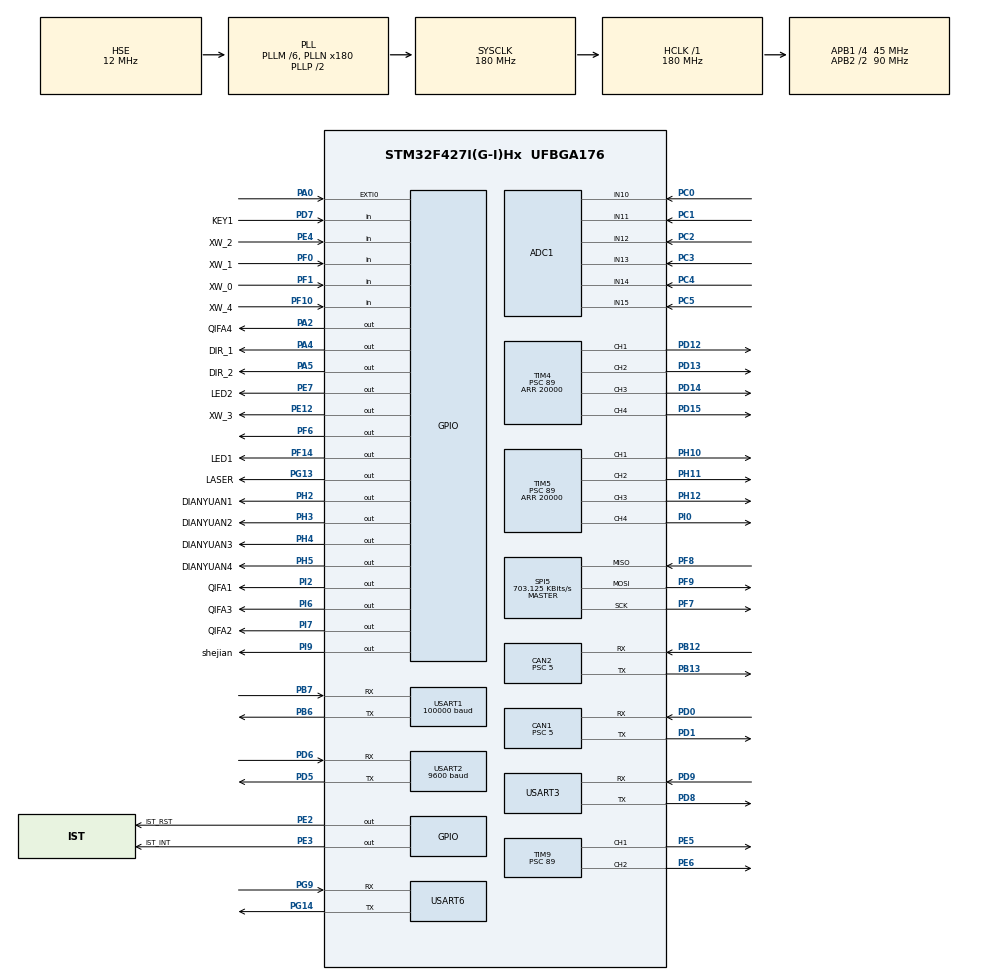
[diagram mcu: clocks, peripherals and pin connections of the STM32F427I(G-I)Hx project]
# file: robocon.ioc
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ADC1.Channel-0\#ChannelRegularConversion=ADC_CHANNEL_12
ADC1.Channel-1\#ChannelRegularConversion=ADC_CHANNEL_13
ADC1.Channel-2\#ChannelRegularConversion=ADC_CHANNEL_14
ADC1.Channel-3\#ChannelRegularConversion=ADC_CHANNEL_15
ADC1.Channel-4\#ChannelRegularConversion=ADC_CHANNEL_10
ADC1.Channel-5\#ChannelRegularConversion=ADC_CHANNEL_11
ADC1.ContinuousConvMode=ENABLE
ADC1.DMAContinuousRequests=ENABLE
ADC1.NbrOfConversion=6
ADC1.NbrOfConversionFlag=1
ADC1.Rank-0\#ChannelRegularConversion=1
ADC1.Rank-1\#ChannelRegularConversion=2
ADC1.Rank-2\#ChannelRegularConversion=3
ADC1.Rank-3\#ChannelRegularConversion=4
ADC1.Rank-4\#ChannelRegularConversion=5
ADC1.Rank-5\#ChannelRegularConversion=6
ADC1.SamplingTime-0\#ChannelRegularConversion=ADC_SAMPLETIME_3CYCLES
ADC1.SamplingTime-1\#ChannelRegularConversion=ADC_SAMPLETIME_3CYCLES
ADC1.SamplingTime-2\#ChannelRegularConversion=ADC_SAMPLETIME_3CYCLES
ADC1.SamplingTime-3\#ChannelRegularConversion=ADC_SAMPLETIME_3CYCLES
ADC1.SamplingTime-4\#ChannelRegularConversion=ADC_SAMPLETIME_3CYCLES
ADC1.SamplingTime-5\#ChannelRegularConversion=ADC_SAMPLETIME_3CYCLES
ADC1.ScanConvMode=ENABLE
ADC1.master=1
CAN1.ABOM=ENABLE
CAN1.BS1=CAN_BS1_3TQ
CAN1.BS2=CAN_BS2_5TQ
CAN1.CalculateBaudRate=1000000
CAN1.CalculateTimeBit=999.99
CAN1.CalculateTimeQuantum=111.11111111111111
CAN1.Prescaler=5
CAN1.SJW=CAN_SJW_1TQ
CAN2.ABOM=ENABLE
CAN2.BS1=CAN_BS1_3TQ
CAN2.BS2=CAN_BS2_5TQ
CAN2.CalculateBaudRate=1000000
CAN2.CalculateTimeBit=999.99
CAN2.CalculateTimeQuantum=111.11111111111111
CAN2.Prescaler=5
CAN2.SJW=CAN_SJW_1TQ
Dma.ADC1.3.Direction=DMA_PERIPH_TO_MEMORY
Dma.ADC1.3.FIFOMode=DMA_FIFOMODE_DISABLE
Dma.ADC1.3.Instance=DMA2_Stream0
Dma.ADC1.3.MemDataAlignment=DMA_MDATAALIGN_WORD
Dma.ADC1.3.MemInc=DMA_MINC_ENABLE
Dma.ADC1.3.Mode=DMA_CIRCULAR
Dma.ADC1.3.PeriphDataAlignment=DMA_PDATAALIGN_WORD
Dma.ADC1.3.PeriphInc=DMA_PINC_DISABLE
Dma.ADC1.3.Priority=DMA_PRIORITY_MEDIUM
Dma.Request0=USART1_RX
Dma.Request1=USART2_RX
Dma.Request2=USART6_RX
Dma.Request3=ADC1
Dma.Request4=USART2_TX
Dma.Request5=USART6_TX
Dma.USART1_RX.0.Direction=DMA_PERIPH_TO_MEMORY
Dma.USART1_RX.0.FIFOMode=DMA_FIFOMODE_DISABLE
Dma.USART1_RX.0.Instance=DMA2_Stream2
Dma.USART1_RX.0.MemDataAlignment=DMA_MDATAALIGN_BYTE
Dma.USART1_RX.0.MemInc=DMA_MINC_ENABLE
Dma.USART1_RX.0.Mode=DMA_CIRCULAR
Dma.USART1_RX.0.PeriphDataAlignment=DMA_PDATAALIGN_BYTE
Dma.USART1_RX.0.PeriphInc=DMA_PINC_DISABLE
Dma.USART1_RX.0.Priority=DMA_PRIORITY_MEDIUM
Dma.USART2_RX.1.Direction=DMA_PERIPH_TO_MEMORY
Dma.USART2_RX.1.FIFOMode=DMA_FIFOMODE_DISABLE
Dma.USART2_RX.1.Instance=DMA1_Stream5
Dma.USART2_RX.1.MemDataAlignment=DMA_MDATAALIGN_BYTE
Dma.USART2_RX.1.MemInc=DMA_MINC_ENABLE
Dma.USART2_RX.1.Mode=DMA_CIRCULAR
Dma.USART2_RX.1.PeriphDataAlignment=DMA_PDATAALIGN_BYTE
Dma.USART2_RX.1.PeriphInc=DMA_PINC_DISABLE
Dma.USART2_RX.1.Priority=DMA_PRIORITY_MEDIUM
Dma.USART2_TX.4.Direction=DMA_MEMORY_TO_PERIPH
Dma.USART2_TX.4.FIFOMode=DMA_FIFOMODE_DISABLE
Dma.USART2_TX.4.Instance=DMA1_Stream6
Dma.USART2_TX.4.MemDataAlignment=DMA_MDATAALIGN_BYTE
Dma.USART2_TX.4.MemInc=DMA_MINC_ENABLE
Dma.USART2_TX.4.Mode=DMA_NORMAL
Dma.USART2_TX.4.PeriphDataAlignment=DMA_PDATAALIGN_BYTE
Dma.USART2_TX.4.PeriphInc=DMA_PINC_DISABLE
Dma.USART2_TX.4.Priority=DMA_PRIORITY_MEDIUM
Dma.USART6_RX.2.Direction=DMA_PERIPH_TO_MEMORY
Dma.USART6_RX.2.FIFOMode=DMA_FIFOMODE_DISABLE
Dma.USART6_RX.2.Instance=DMA2_Stream1
Dma.USART6_RX.2.MemDataAlignment=DMA_MDATAALIGN_BYTE
Dma.USART6_RX.2.MemInc=DMA_MINC_ENABLE
Dma.USART6_RX.2.Mode=DMA_CIRCULAR
Dma.USART6_RX.2.PeriphDataAlignment=DMA_PDATAALIGN_BYTE
Dma.USART6_RX.2.PeriphInc=DMA_PINC_DISABLE
Dma.USART6_RX.2.Priority=DMA_PRIORITY_MEDIUM
Dma.USART6_TX.5.Direction=DMA_MEMORY_TO_PERIPH
Dma.USART6_TX.5.FIFOMode=DMA_FIFOMODE_DISABLE
Dma.USART6_TX.5.Instance=DMA2_Stream6
Dma.USART6_TX.5.MemDataAlignment=DMA_MDATAALIGN_BYTE
Dma.USART6_TX.5.MemInc=DMA_MINC_ENABLE
Dma.USART6_TX.5.Mode=DMA_NORMAL
Dma.USART6_TX.5.PeriphDataAlignment=DMA_PDATAALIGN_BYTE
Dma.USART6_TX.5.PeriphInc=DMA_PINC_DISABLE
Dma.USART6_TX.5.Priority=DMA_PRIORITY_MEDIUM
FREERTOS.Tasks01=defaultTask,0,128,StartDefaultTask,Default,NULL,Dynamic,NULL,NULL;myTask02,0,128,StartTask02,Default,NULL,Dynamic,NULL,NULL;myTask03,0,128,StartTask03,Default,NULL,Dynamic,NULL,NULL;myTask04,0,128,StartTask04,Default,NULL,Dynamic,NULL,NULL
Mcu.Family=STM32F4
Mcu.Name=STM32F427I(G-I)Hx
Mcu.Package=UFBGA176
NVIC.CAN1_RX0_IRQn=true\:5\:0\:false\:false\:true\:true\:true\:true
NVIC.CAN1_TX_IRQn=true\:5\:0\:false\:false\:true\:true\:true\:true
NVIC.CAN2_RX0_IRQn=true\:5\:0\:false\:false\:true\:false\:true\:true
NVIC.CAN2_TX_IRQn=true\:5\:0\:false\:false\:true\:false\:true\:true
NVIC.DMA1_Stream5_IRQn=true\:5\:0\:false\:false\:true\:true\:true\:true
NVIC.DMA1_Stream6_IRQn=true\:5\:0\:false\:false\:true\:true\:false\:true
NVIC.DMA2_Stream0_IRQn=true\:5\:0\:false\:false\:true\:true\:false\:true
NVIC.DMA2_Stream1_IRQn=true\:5\:0\:false\:false\:true\:true\:true\:true
NVIC.DMA2_Stream2_IRQn=true\:5\:0\:false\:false\:true\:true\:true\:true
NVIC.DMA2_Stream6_IRQn=true\:5\:0\:false\:false\:true\:true\:false\:true
NVIC.PriorityGroup=NVIC_PRIORITYGROUP_4
NVIC.TIM6_DAC_IRQn=true\:0\:0\:false\:false\:true\:false\:true\:true
NVIC.TIM7_IRQn=true\:5\:0\:false\:false\:true\:true\:true\:true
NVIC.TimeBase=TIM6_DAC_IRQn
NVIC.TimeBaseIP=TIM6
NVIC.USART1_IRQn=true\:5\:0\:true\:false\:true\:true\:true\:true
NVIC.USART2_IRQn=true\:5\:0\:true\:false\:true\:false\:true\:true
NVIC.USART6_IRQn=true\:5\:0\:true\:false\:true\:true\:true\:true
PA0/WKUP.Signal=GPXTI0
PA13.Mode=Serial_Wire
PA13.Signal=SYS_JTMS-SWDIO
PA14.Mode=Serial_Wire
PA14.Signal=SYS_JTCK-SWCLK
PA2.GPIO_Label=QIFA4
PA2.Signal=GPIO_Output
PA4.GPIO_Label=DIR_1
PA4.Signal=GPIO_Output
PA5.GPIO_Label=DIR_2
PA5.Signal=GPIO_Output
PB12.Mode=CAN_Activate
PB12.Signal=CAN2_RX
PB13.Mode=CAN_Activate
PB13.Signal=CAN2_TX
PB6.GPIO_PuPd=GPIO_PULLUP
PB6.Mode=Asynchronous
PB6.Signal=USART1_TX
PB7.GPIO_PuPd=GPIO_PULLUP
PB7.Mode=Asynchronous
PB7.Signal=USART1_RX
PC0.Signal=ADCx_IN10
PC1.Signal=ADCx_IN11
PC2.Signal=ADCx_IN12
PC3.Signal=ADCx_IN13
PC4.Signal=ADCx_IN14
PC5.Signal=ADCx_IN15
PD0.Mode=CAN_Activate
PD0.Signal=CAN1_RX
PD1.Mode=CAN_Activate
PD1.Signal=CAN1_TX
PD12.Signal=S_TIM4_CH1
PD13.Signal=S_TIM4_CH2
PD14.Signal=S_TIM4_CH3
PD15.Signal=S_TIM4_CH4
PD5.Mode=Asynchronous
PD5.Signal=USART2_TX
PD6.Mode=Asynchronous
PD6.Signal=USART2_RX
PD7.GPIO_Label=KEY1
PD7.Signal=GPIO_Input
PD8.Mode=Asynchronous
PD8.Signal=USART3_TX
PD9.Mode=Asynchronous
PD9.Signal=USART3_RX
PE12.GPIO_Label=XW_3
PE12.GPIO_Speed=GPIO_SPEED_FREQ_HIGH
PE12.PinState=GPIO_PIN_SET
PE12.Signal=GPIO_Output
PE2.GPIO_Label=IST_RST
PE2.PinState=GPIO_PIN_SET
PE2.Signal=GPIO_Output
PE3.GPIO_Label=IST_INT
PE3.Signal=GPIO_Output
PE4.GPIO_Label=XW_2
PE4.GPIO_PuPd=GPIO_PULLUP
PE4.Signal=GPIO_Input
PE5.Signal=S_TIM9_CH1
PE6.Signal=S_TIM9_CH2
PE7.GPIO_Label=LED2
PE7.Signal=GPIO_Output
PF0.GPIO_Label=XW_1
PF0.GPIO_PuPd=GPIO_PULLUP
PF0.Signal=GPIO_Input
PF1.GPIO_Label=XW_0
PF1.GPIO_PuPd=GPIO_PULLUP
PF1.Signal=GPIO_Input
PF10.GPIO_Label=XW_4
PF10.GPIO_PuPd=GPIO_PULLUP
PF10.Signal=GPIO_Input
PF14.GPIO_Label=LED1
PF14.Signal=GPIO_Output
PF6.Signal=GPIO_Output
PF7.Mode=Full_Duplex_Master
PF7.Signal=SPI5_SCK
PF8.Mode=Full_Duplex_Master
PF8.Signal=SPI5_MISO
PF9.Mode=Full_Duplex_Master
PF9.Signal=SPI5_MOSI
PG13.GPIO_Label=LASER
PG13.Signal=GPIO_Output
PG14.Mode=Asynchronous
PG14.Signal=USART6_TX
PG9.Mode=Asynchronous
PG9.Signal=USART6_RX
PH0/OSC_IN.Mode=HSE-External-Oscillator
PH0/OSC_IN.Signal=RCC_OSC_IN
PH1/OSC_OUT.Mode=HSE-External-Oscillator
PH1/OSC_OUT.Signal=RCC_OSC_OUT
PH10.Signal=S_TIM5_CH1
PH11.Signal=S_TIM5_CH2
PH12.Signal=S_TIM5_CH3
PH2.GPIO_Label=DIANYUAN1
PH2.Signal=GPIO_Output
PH3.GPIO_Label=DIANYUAN2
PH3.Signal=GPIO_Output
PH4.GPIO_Label=DIANYUAN3
PH4.Signal=GPIO_Output
PH5.GPIO_Label=DIANYUAN4
PH5.Signal=GPIO_Output
PI0.Signal=S_TIM5_CH4
PI2.GPIO_Label=QIFA1
PI2.Signal=GPIO_Output
PI6.GPIO_Label=QIFA3
PI6.Signal=GPIO_Output
PI7.GPIO_Label=QIFA2
PI7.Signal=GPIO_Output
PI9.GPIO_Label=shejian
PI9.Signal=GPIO_Output
ProjectManager.HeapSize=0x200
ProjectManager.StackSize=0x400
ProjectManager.TargetToolchain=MDK-ARM V5
RCC.48MHZClocksFreq_Value=90000000
RCC.AHBFreq_Value=180000000
RCC.APB1CLKDivider=RCC_HCLK_DIV4
RCC.APB1Freq_Value=45000000
RCC.APB1TimFreq_Value=90000000
RCC.APB2CLKDivider=RCC_HCLK_DIV2
RCC.APB2Freq_Value=90000000
RCC.APB2TimFreq_Value=180000000
RCC.CortexFreq_Value=180000000
RCC.HCLKFreq_Value=180000000
RCC.HSE_VALUE=12000000
RCC.HSI_VALUE=16000000
RCC.LSE_VALUE=32768
RCC.PLLM=6
RCC.PLLN=180
RCC.PLLSourceVirtual=RCC_PLLSOURCE_HSE
RCC.SYSCLKFreq_VALUE=180000000
RCC.SYSCLKSource=RCC_SYSCLKSOURCE_PLLCLK
RCC.VCOOutputFreq_Value=360000000
SH.ADCx_IN10.0=ADC1_IN10,IN10
SH.ADCx_IN11.0=ADC1_IN11,IN11
SH.ADCx_IN12.0=ADC1_IN12,IN12
SH.ADCx_IN13.0=ADC1_IN13,IN13
SH.ADCx_IN14.0=ADC1_IN14,IN14
SH.ADCx_IN15.0=ADC1_IN15,IN15
SH.S_TIM4_CH1.0=TIM4_CH1,PWM Generation1 CH1
SH.S_TIM4_CH2.0=TIM4_CH2,PWM Generation2 CH2
SH.S_TIM4_CH3.0=TIM4_CH3,PWM Generation3 CH3
SH.S_TIM4_CH4.0=TIM4_CH4,PWM Generation4 CH4
SH.S_TIM5_CH1.0=TIM5_CH1,PWM Generation1 CH1
SH.S_TIM5_CH2.0=TIM5_CH2,PWM Generation2 CH2
SH.S_TIM5_CH3.0=TIM5_CH3,PWM Generation3 CH3
SH.S_TIM5_CH4.0=TIM5_CH4,PWM Generation4 CH4
SH.S_TIM9_CH1.0=TIM9_CH1,PWM Generation1 CH1
SH.S_TIM9_CH2.0=TIM9_CH2,PWM Generation2 CH2
SPI5.BaudRatePrescaler=SPI_BAUDRATEPRESCALER_128
SPI5.CalculateBaudRate=703.125 KBits/s
SPI5.Direction=SPI_DIRECTION_2LINES
SPI5.Mode=SPI_MODE_MASTER
SPI5.VirtualType=VM_MASTER
TIM4.Channel-PWM\ Generation1\ CH1=TIM_CHANNEL_1
TIM4.Channel-PWM\ Generation2\ CH2=TIM_CHANNEL_2
TIM4.Channel-PWM\ Generation3\ CH3=TIM_CHANNEL_3
TIM4.Channel-PWM\ Generation4\ CH4=TIM_CHANNEL_4
TIM4.Period=20000
TIM4.Prescaler=89
TIM5.Channel-PWM\ Generation1\ CH1=TIM_CHANNEL_1
TIM5.Channel-PWM\ Generation2\ CH2=TIM_CHANNEL_2
TIM5.Channel-PWM\ Generation3\ CH3=TIM_CHANNEL_3
TIM5.Channel-PWM\ Generation4\ CH4=TIM_CHANNEL_4
TIM5.Period=20000
TIM5.Prescaler=89
TIM7.Period=5000
TIM7.Prescaler=89
TIM9.Channel-PWM\ Generation1\ CH1=TIM_CHANNEL_1
TIM9.Channel-PWM\ Generation2\ CH2=TIM_CHANNEL_2
TIM9.Period=20000
TIM9.Prescaler=89
USART1.BaudRate=100000
USART1.Parity=PARITY_EVEN
USART1.VirtualMode=VM_ASYNC
USART2.BaudRate=9600
USART2.VirtualMode=VM_ASYNC
USART3.VirtualMode=VM_ASYNC
USART6.VirtualMode=VM_ASYNC
VP_FREERTOS_VS_CMSIS_V1.Mode=CMSIS_V1
VP_SYS_VS_tim6.Mode=TIM6
VP_TIM7_VS_ClockSourceINT.Mode=Enable_Timer
board=demo

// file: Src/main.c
/* USER CODE BEGIN Header */
/**
  ******************************************************************************
  * @file           : main.c
  * @brief          : Main program body
  ******************************************************************************
  * @attention
  *
  * <h2><center>&copy; Copyright (c) 2021 STMicroelectronics.
  * All rights reserved.</center></h2>
  *
  * This software component is licensed by ST under Ultimate Liberty license
  * SLA0044, the "License"; You may not use this file except in compliance with
  * the License. You may obtain a copy of the License at:
  *                             www.st.com/SLA0044
  *
  ******************************************************************************
  */
/* USER CODE END Header */
#include "main.h"
#include "cmsis_os.h"
#include "adc.h"
#include "can.h"
#include "dma.h"
#include "spi.h"
#include "tim.h"
#include "usart.h"
#include "gpio.h"

/* USER CODE BEGIN Includes */
#include "stm32f4xx_hal.h"
#include "bsp_imu.h"
#include "stdio.h"
#include "bsp_uart.h"
#include "moter.h"
#include "control.h"
#include "bsp_can.h"
extern speed_wheel baohu[4];
#define BUFFER_SIZE 100
volatile uint8_t rx_len = 0, rx_len2 = 0, rx_len3 = 0;                      //接收一帧数据的长度
volatile uint8_t recv_end_flag = 0, recv_end_flag2 = 0, recv_end_flag3 = 0,recv_cmd_flag2=0; //一帧数据接收完成标志
uint8_t rx_buffer[100] = {0}, rx_buffer2[100] = {0}, rx_buffer3[100] = {0}; //接收数据缓存数组
extern DMA_HandleTypeDef hdma_usart6_rx;
extern rc_info_t rc;
extern float orignal_yaw, yaw;
#define circle   0.329867f
#define Reduction  103765.3f   //减速比
/* USER CODE END Includes */

/* USER CODE BEGIN PV */
/* Private variables ---------------------------------------------------------*/

/* USER CODE END PV */

void SystemClock_Config(void);
void MX_FREERTOS_Init(void);
/* USER CODE BEGIN PFP */
/* Private function prototypes -----------------------------------------------*/

/* USER CODE END PFP */

/* USER CODE BEGIN 0 */
void HAL_UART_RxCpltCallback(UART_HandleTypeDef *huart)
{
  /* Prevent unused argument(s) compilation warning */
  UNUSED(huart);
  /* NOTE: This function should not be modified, when the callback is needed,
             the HAL_UART_RxCpltCallback could be implemented in the user file
     */
}
/* USER CODE END 0 */

int main(void)
{

  /* MCU Configuration--------------------------------------------------------*/

  /* Reset of all peripherals, Initializes the Flash interface and the Systick. */
  HAL_Init();

  /* Configure the system clock */
  SystemClock_Config();

  /* Initialize all configured peripherals */
  MX_GPIO_Init();
  MX_DMA_Init();
  MX_CAN1_Init();
  MX_CAN2_Init();
  MX_SPI5_Init();
  MX_USART1_UART_Init();
  MX_USART2_UART_Init();
  MX_USART6_UART_Init();
  MX_ADC1_Init();
  MX_TIM7_Init();
  MX_USART3_UART_Init();
  MX_TIM9_Init();
  MX_TIM4_Init();
  MX_TIM5_Init();
  /* USER CODE BEGIN 2 */
  HAL_TIM_PWM_Start(&htim9, TIM_CHANNEL_1);
  HAL_TIM_PWM_Start(&htim9, TIM_CHANNEL_2);
	HAL_TIM_PWM_Start(&htim4, TIM_CHANNEL_1);
	HAL_TIM_PWM_Start(&htim4, TIM_CHANNEL_2);
	HAL_TIM_PWM_Start(&htim4, TIM_CHANNEL_3);
	HAL_TIM_PWM_Start(&htim4, TIM_CHANNEL_4);
  dbus_uart_init(); //dbus
  mpu_device_init();
	init_quaternion();

  ////    HAL_Delay(2000);
  /* USER CODE END 2 */

  /* Call init function for freertos objects (in freertos.c) */
  MX_FREERTOS_Init();
  /* Start scheduler */
  osKernelStart();

  /* We should never get here as control is now taken by the scheduler */
  /* Infinite loop */
  while (1)
  {

  }
}

void SystemClock_Config(void)
{
  RCC_OscInitTypeDef RCC_OscInitStruct = {0};
  RCC_ClkInitTypeDef RCC_ClkInitStruct = {0};

  /** Configure the main internal regulator output voltage
  */
  __HAL_RCC_PWR_CLK_ENABLE();
  __HAL_PWR_VOLTAGESCALING_CONFIG(PWR_REGULATOR_VOLTAGE_SCALE1);
  /** Initializes the RCC Oscillators according to the specified parameters
  * in the RCC_OscInitTypeDef structure.
  */
  RCC_OscInitStruct.OscillatorType = RCC_OSCILLATORTYPE_HSE;
  RCC_OscInitStruct.HSEState = RCC_HSE_ON;
  RCC_OscInitStruct.PLL.PLLState = RCC_PLL_ON;
  RCC_OscInitStruct.PLL.PLLSource = RCC_PLLSOURCE_HSE;
  RCC_OscInitStruct.PLL.PLLM = 6;
  RCC_OscInitStruct.PLL.PLLN = 180;
  RCC_OscInitStruct.PLL.PLLP = RCC_PLLP_DIV2;
  RCC_OscInitStruct.PLL.PLLQ = 4;
  if (HAL_RCC_OscConfig(&RCC_OscInitStruct) != HAL_OK)
  {
    Error_Handler();
  }
  /** Activate the Over-Drive mode
  */
  if (HAL_PWREx_EnableOverDrive() != HAL_OK)
  {
    Error_Handler();
  }
  /** Initializes the CPU, AHB and APB buses clocks
  */
  RCC_ClkInitStruct.ClockType = RCC_CLOCKTYPE_HCLK|RCC_CLOCKTYPE_SYSCLK
                              |RCC_CLOCKTYPE_PCLK1|RCC_CLOCKTYPE_PCLK2;
  RCC_ClkInitStruct.SYSCLKSource = RCC_SYSCLKSOURCE_PLLCLK;
  RCC_ClkInitStruct.AHBCLKDivider = RCC_SYSCLK_DIV1;
  RCC_ClkInitStruct.APB1CLKDivider = RCC_HCLK_DIV4;
  RCC_ClkInitStruct.APB2CLKDivider = RCC_HCLK_DIV2;

  if (HAL_RCC_ClockConfig(&RCC_ClkInitStruct, FLASH_LATENCY_5) != HAL_OK)
  {
    Error_Handler();
  }
}

 /**
  * @brief  Period elapsed callback in non blocking mode
  * @note   This function is called  when TIM6 interrupt took place, inside
  * HAL_TIM_IRQHandler(). It makes a direct call to HAL_IncTick() to increment
  * a global variable "uwTick" used as application time base.
  * @param  htim : TIM handle
  * @retval None
  */
void HAL_TIM_PeriodElapsedCallback(TIM_HandleTypeDef *htim)
{
  /* USER CODE BEGIN Callback 0 */
  if (htim->Instance == TIM7)
  {
		 static float sum=0;
		/*****炮台 yaw 方向的反馈是 tuolun_angle*******/
//		set_c620moter(150,150,150,150);
//    set_c620moter(c620_moter.distance[0], c620_moter.distance[1], c620_moter.distance[2], c620_moter.distance[3]); //其余电机的位置控制
    if (rc.sw2 == 1) //通道 5 模式一 保险模式
    {
      set_moto_current(&hcan1, 0,0,0,0);
			set_moto2_current(&hcan1, 0,0,0,0);
			set_moto_current(&hcan2, 0,0,0,0);
			set_moto2_current(&hcan2, 0,0,0,0);
    }
   else if (rc.sw2 == 3) //模式3 遥控模式
    {

//			if(__fabs(rc.ch2)<20)
//			 rc.ch2=0;
			sum+=-rc.ch2/1200.0f;
			setSingleMotor_juli(M4,sum*8192*19);
      Calculate(rc.ch3 / 250.0f, rc.ch4 / 250.0f, rc.ch1/660.0f);
      setMotor_dir(kinematics.exp_vel[0].jiado, kinematics.exp_vel[1].jiado, kinematics.exp_vel[2].jiado, kinematics.exp_vel[3].jiado);
    }

}

  /* USER CODE END Callback 0 */
  if (htim->Instance == TIM6) {
    HAL_IncTick();
  }
}

void Error_Handler(void)
{
  __disable_irq();
  while (1)
  {
  }
}

/************************ (C) COPYRIGHT STMicroelectronics *****END OF FILE****/

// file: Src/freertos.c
/* USER CODE BEGIN Header */
/**
  ******************************************************************************
  * File Name          : freertos.c
  * Description        : Code for freertos applications
  ******************************************************************************
  * @attention
  *
  * <h2><center>&copy; Copyright (c) 2021 STMicroelectronics.
  * All rights reserved.</center></h2>
  *
  * This software component is licensed by ST under Ultimate Liberty license
  * SLA0044, the "License"; You may not use this file except in compliance with
  * the License. You may obtain a copy of the License at:
  *                             www.st.com/SLA0044
  *
  ******************************************************************************
  */
/* USER CODE END Header */

#include "FreeRTOS.h"
#include "task.h"
#include "main.h"
#include "cmsis_os.h"

/* USER CODE BEGIN Includes */
#include "pid.h"
#include "bsp_can.h"
#include "mytype.h"
#include "tim.h"
#include "stdio.h"
#include "moter.h"
#include "main.h"
#include "taks.h"
#include "pca.h"
/* USER CODE END Includes */

/* USER CODE BEGIN PTD */
#include "bsp_imu.h"
#include "bsp_uart.h"
#include "control.h"
#include "iic.h"
#include "pca.h"
char buf[300];
extern UART_HandleTypeDef huart6;
extern ADC_HandleTypeDef hadc1;
extern rc_info_t rc;
uint32_t ADC_Value[120];
uint32_t ad1, ad2, ad3, ad4, ad5, ad6;
float tuolun_angle[6] = {0}, pre_angle[6] = {0};
#define fab(x) x > 0 ? x : -x
u8 dir = 1;
float orignal_yaw = 0.0f;
#define COUNTOF(__BUFFER__) (sizeof(__BUFFER__) / sizeof(*(__BUFFER__)))
extern float yaw;
extern volatile uint8_t rx_len, rx_len2, rx_len3;                      //接收一帧数据的长度
extern volatile uint8_t recv_end_flag, recv_end_flag2, recv_end_flag3,recv_cmd_flag2; //一帧数据接收完成标志
extern uint8_t rx_buffer[100], rx_buffer2[100], rx_buffer3[100];       //接收数据缓存数组
int big_flag=0;

extern uint8_t   dbus_buf[DBUS_BUFLEN];
/* USER CODE END PTD */

osThreadId defaultTaskHandle;
osThreadId myTask02Handle;
osThreadId myTask03Handle;
osThreadId myTask04Handle;

/* USER CODE BEGIN FunctionPrototypes */
void set_total_angle(moto_measure_t *p, moto_measure_t *p1, int angle, u8 dir, u16 speed); //
void weizhihuan(moto_measure_t *p, float angle);
void weizhihuan_duolun(moto_measure_t *p, float mesure, float angle);
extern TIM_HandleTypeDef htim7;
float oringal_yaw = 0.0f;
float exp_jiaou=260.2f;
extern rc_info_t rc;
speed_wheel baohu[4];
/* USER CODE END FunctionPrototypes */

void StartDefaultTask(void const * argument);
void StartTask02(void const * argument);
void StartTask03(void const * argument);
void StartTask04(void const * argument);

void MX_FREERTOS_Init(void); /* (MISRA C 2004 rule 8.1) */

/* GetIdleTaskMemory prototype (linked to static allocation support) */
void vApplicationGetIdleTaskMemory( StaticTask_t **ppxIdleTaskTCBBuffer, StackType_t **ppxIdleTaskStackBuffer, uint32_t *pulIdleTaskStackSize );

/* USER CODE BEGIN GET_IDLE_TASK_MEMORY */
static StaticTask_t xIdleTaskTCBBuffer;
static StackType_t xIdleStack[configMINIMAL_STACK_SIZE];

void vApplicationGetIdleTaskMemory(StaticTask_t **ppxIdleTaskTCBBuffer, StackType_t **ppxIdleTaskStackBuffer, uint32_t *pulIdleTaskStackSize)
{
  *ppxIdleTaskTCBBuffer = &xIdleTaskTCBBuffer;
  *ppxIdleTaskStackBuffer = &xIdleStack[0];
  *pulIdleTaskStackSize = configMINIMAL_STACK_SIZE;
  /* place for user code */
}
/* USER CODE END GET_IDLE_TASK_MEMORY */

void MX_FREERTOS_Init(void) {

  /* Create the thread(s) */
  /* definition and creation of defaultTask */
  osThreadDef(defaultTask, StartDefaultTask, osPriorityNormal, 0, 128);
  defaultTaskHandle = osThreadCreate(osThread(defaultTask), NULL);

  /* definition and creation of myTask02 */
  osThreadDef(myTask02, StartTask02, osPriorityNormal, 0, 128);
  myTask02Handle = osThreadCreate(osThread(myTask02), NULL);

  /* definition and creation of myTask03 */
  osThreadDef(myTask03, StartTask03, osPriorityNormal, 0, 128);
  myTask03Handle = osThreadCreate(osThread(myTask03), NULL);

  /* definition and creation of myTask04 */
  osThreadDef(myTask04, StartTask04, osPriorityNormal, 0, 128);
  myTask04Handle = osThreadCreate(osThread(myTask04), NULL);

}

void StartDefaultTask(void const * argument)
{
  /* USER CODE BEGIN StartDefaultTask */
  my_can_filter_init_recv_all(&hcan1);
  can_filter_recv_special(&hcan2);
  HAL_CAN_ActivateNotification(&hcan1, CAN_IT_RX_FIFO0_MSG_PENDING); // Enable interrupts
  HAL_CAN_ActivateNotification(&hcan2, CAN_IT_RX_FIFO0_MSG_PENDING); // Enable interrupts
  duo_lun_speed_init();
  duo_lun_Dir_init();
  Kinematics_Init();

  C610_init();
  //set_exp(60, 60);
  __HAL_UART_ENABLE_IT(&huart6, UART_IT_IDLE);
  HAL_UART_Receive_DMA(&huart6, rx_buffer, 100);
  __HAL_UART_ENABLE_IT(&huart2, UART_IT_IDLE);
  HAL_UART_Receive_DMA(&huart2, rx_buffer2, 100);

  PID_struct_init(&yaw_pos, DELTA_PID, 3500, 500, 1272.6f, 12.5f, 0.3f);           //转向环
  PID_struct_init(&PID_Position_X, POSITION_PID, 5000, 1000, 52.6f, 0.01f, 28.0f); //x方向
  PID_struct_init(&PID_Position_Y, POSITION_PID, 5000, 1000, 52.6f, 0.01f, 28.0f); //y方向
//  send_com(&huart2, 0x38);//imu_init
//  osDelay(3000);
//	init_position();
	clear_motor();

  HAL_TIM_Base_Start_IT(&htim7);

  for (;;)
  {
//		HAL_GPIO_WritePin(GPIOI, QIFA1_Pin, GPIO_PIN_SET);
		if(rc.sw1==1){
				HAL_GPIO_WritePin(GPIOI, QIFA1_Pin, GPIO_PIN_RESET);
			}
			else {

				HAL_GPIO_WritePin(GPIOI, QIFA1_Pin, GPIO_PIN_SET);
			}
    osDelay(500);
  }
  /* USER CODE END StartDefaultTask */
}

void StartTask02(void const * argument)
{
  /* USER CODE BEGIN StartTask02 */
  u8 i;

  float yingzi = 0.1;
  HAL_ADC_Start_DMA(&hadc1, (uint32_t *)&ADC_Value, 120);
  /* Infinite loop */
  for (;;)
  {
    for (i = 0, ad1 = ad2 = ad3 = ad4 = ad5 = ad6 = 0; i < 120;)
    {
      ad1 += ADC_Value[i++];
      ad2 += ADC_Value[i++];
      ad3 += ADC_Value[i++];
      ad4 += ADC_Value[i++];
      ad5 += ADC_Value[i++];
      ad6 += ADC_Value[i++];
    }
    ad1 /= 20;
    ad2 /= 20;
    ad3 /= 20;
    ad4 /= 20;
    ad5 /= 20;
    ad6 /= 20;
    pre_angle[0] = 360 * (ad1 / 4096.0f) ; //(ad1 * 3.3f * 110.0917f) / (4096 * (3.26 / 3.3));//(ad1 * 3.3f * 110.0917f) / (4096 * (3.26 / 3.3))
    pre_angle[1] = 360 * (ad2 / 4096.0f) ;
    pre_angle[2] = 360 * (ad3 / 4096.0f) ;
    pre_angle[3] = 360 * (ad4 / 4096.0f) ;
    pre_angle[4] = 360 * (ad5 / 4096.0f);
    pre_angle[5] = 360 * (ad6 / 4096.0f);
    tuolun_angle[0] = yingzi * tuolun_angle[0] + (1 - yingzi) * pre_angle[0]; //低通滤波
    tuolun_angle[1] = yingzi * tuolun_angle[1] + (1 - yingzi) * pre_angle[1];
    tuolun_angle[2] = yingzi * tuolun_angle[2] + (1 - yingzi) * pre_angle[2];
    tuolun_angle[3] = yingzi * tuolun_angle[3] + (1 - yingzi) * pre_angle[3];
    tuolun_angle[4] = yingzi * tuolun_angle[4] + (1 - yingzi) * pre_angle[4];
    tuolun_angle[5] = yingzi * tuolun_angle[5] + (1 - yingzi) * pre_angle[5];
    osDelay(2);

  }
  /* USER CODE END StartTask02 */
}

/* USER CODE BEGIN Header_StartTask03 */
/*
* @brief Function implementing the myTask03 thread.
* @param argument: Not used
* @retval None
*/
/* USER CODE END Header_StartTask03 */
void StartTask03(void const * argument)
{
  /* USER CODE BEGIN StartTask03 */
  /* Infinite loop */
  osDelay(5000);
  for (;;)
  {
	 mpu_get_data();
	 imu_ahrs_update();
	 imu_attitude_update();
    if (recv_end_flag == 1) //接收完成标志
    {
      HAL_UART_Transmit_DMA(&huart6, rx_buffer, rx_len);
      rx_len = 0;        //清除计数
      recv_end_flag = 0; //清除接收结束标志位
      memset(rx_buffer, 0, rx_len);
      HAL_UART_Receive_DMA(&huart6, rx_buffer, 100); //重新打开DMA接收z
    }
    if (recv_end_flag2 == 1) //接收完成标志
    {
//       HAL_UART_Transmit_DMA(&huart2, rx_buffer2, rx_len2);
      rx_len2 = 0;        //清除计数
      recv_end_flag2 = 0; //清除接收结束标志位
      HAL_UART_Receive_DMA(&huart2, rx_buffer2, 100); //重新打开DMA接收z
    }
//     printf("AD1_value=%1.3f AD2_value=%1.3f AD3_value=%1.3f AD5_value=%1.3f\r\n ", tuolun_angle[0], tuolun_angle[1],tuolun_angle[2],tuolun_angle[4]);
    osDelay(5);
  }
  /* USER CODE END StartTask03 */
}

void StartTask04(void const * argument)
{
  /* USER CODE BEGIN StartTask04 */
  /* Infinite loop */
	 osDelay(5000);
  for (;;)
  {

	 osDelay(1000);

  }
  /* USER CODE END StartTask04 */
}

/************************ (C) COPYRIGHT STMicroelectronics *****END OF FILE****/
